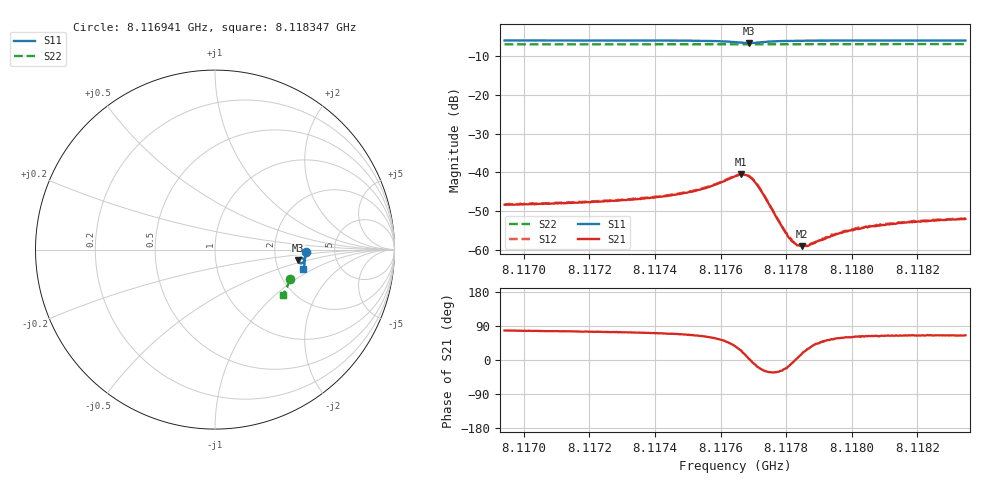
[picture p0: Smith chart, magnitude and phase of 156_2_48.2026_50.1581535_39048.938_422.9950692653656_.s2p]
#  HZ  S  RI  R  50.00
! Rohde & Schwarz Vector Network Analyzer
! Rohde-Schwarz,ZNB20-2Port,1311601062101988,3.16
! Created: UTC 3/20/2024, 11:43:01 AM
! freq[Hz]  re:S11  im:S11  re:S21  im:S21  re:S12  im:S12  re:S22  im:S22
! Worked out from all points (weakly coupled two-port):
!   401 points, 8.116941 GHz to 8.118347 GHz, reference 50 ohm
!   highest |S21| = -40.55 dB at 8.117662 GHz (marker M1); lowest = -59.1 dB at 8.117848 GHz (marker M2)
!   lowest |S11| = -6.6 dB at 8.117686 GHz (marker M3), VSWR 2.76, Z = 134 - j20.2 ohm
!   |S11| at or under -10 dB: nowhere
!   |S22| runs from -6.9 to -6.8 dB; largest |S21 - S12| = 0.00027
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8.1169414e9  0.5061 -0.0125  0.000803 0.00372  0.000855 0.00375  0.4191 -0.1656
8.1171768e9  0.5048 -0.0311  0.00107 0.00392  0.00112 0.00397  0.4133 -0.181
8.1172963e9  0.5035 -0.0412  0.00124 0.00417  0.00131 0.00422  0.4103 -0.1886
8.1174122e9  0.5019 -0.0518  0.00158 0.00453  0.00169 0.00456  0.407 -0.1963
8.117486e9  0.4995 -0.0594  0.00206 0.00494  0.00214 0.00503  0.405 -0.2012
8.1175422e9  0.4964 -0.0661  0.00273 0.00539  0.00284 0.00549  0.4032 -0.2048
8.1175843e9  0.4917 -0.0718  0.00374 0.00581  0.00384 0.00588  0.4017 -0.2074
8.1176441e9  0.4753 -0.0761  0.00713 0.0053  0.00728 0.00531  0.3992 -0.211
8.1176616e9  0.4682 -0.0719  0.00846 0.00406  0.00866 0.00389  0.3983 -0.2117
8.1176862e9  0.4637 -0.0587  0.00885 0.000511  0.00902 0.000513  0.3978 -0.2125
8.1177038e9  0.4686 -0.0496  0.00741 -0.00142  0.00755 -0.00161  0.3975 -0.2135
8.1177178e9  0.4752 -0.046  0.00587 -0.00224  0.00599 -0.00234  0.3975 -0.2141
8.1177916e9  0.4949 -0.0552  0.00166 -0.000776  0.00169 -0.000814  0.3961 -0.2191
8.1178092e9  0.4963 -0.0582  0.00136 -0.000377  0.00145 -0.000395  0.3955 -0.2205
8.1178267e9  0.4973 -0.0609  0.0012 -2.64e-05  0.00121 -5.14e-05  0.395 -0.2216
8.1178478e9  0.4979 -0.064  0.00106 0.000308  0.00107 0.00031  0.3945 -0.2228
8.1178654e9  0.4983 -0.0662  0.000973 0.000551  0.00101 0.000547  0.3939 -0.224
8.1178794e9  0.4984 -0.068  0.000953 0.000711  0.000965 0.000689  0.3933 -0.2249
8.1179778e9  0.4983 -0.0786  0.000872 0.00146  0.000879 0.0015  0.39 -0.2311
8.11802e9  0.4978 -0.0825  0.000868 0.00162  0.000938 0.00168  0.3888 -0.2338
8.1181148e9  0.4967 -0.0905  0.000924 0.00189  0.000959 0.00195  0.3855 -0.2396
8.1183467e9  0.493 -0.1091  0.00104 0.00226  0.00109 0.00233  0.3773 -0.2537
